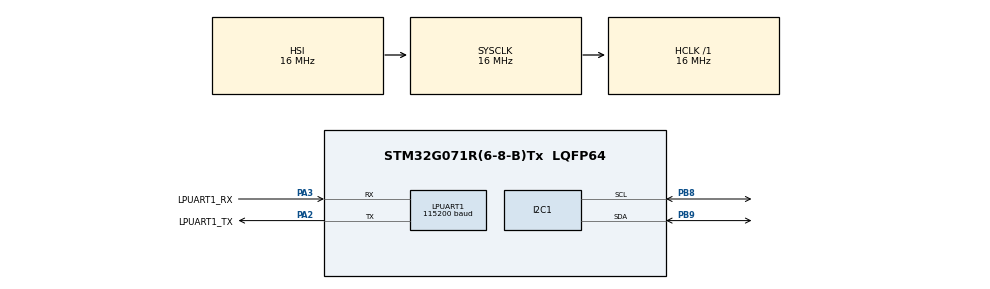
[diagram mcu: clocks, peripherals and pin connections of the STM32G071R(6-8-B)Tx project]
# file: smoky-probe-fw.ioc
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LPUART1.BaudRate=115200
LPUART1.WordLength=UART_WORDLENGTH_8B
Mcu.Family=STM32G0
Mcu.Name=STM32G071R(6-8-B)Tx
Mcu.Package=LQFP64
NVIC.TIM2_IRQn=true\:0\:0\:false\:false\:true\:true\:true
PA13.GPIO_Label=TMS
PA13.Mode=Serial_Wire
PA13.Signal=SYS_SWDIO
PA14-BOOT0.GPIO_Label=TCK
PA14-BOOT0.Mode=Serial_Wire
PA14-BOOT0.Signal=SYS_SWCLK
PA2.GPIO_Label=LPUART1_TX
PA2.Mode=Asynchronous
PA2.Signal=LPUART1_TX
PA3.GPIO_Label=LPUART1_RX
PA3.Mode=Asynchronous
PA3.Signal=LPUART1_RX
PB8.Mode=I2C
PB8.Signal=I2C1_SCL
PB9.Mode=I2C
PB9.Signal=I2C1_SDA
PC13.Mode=SYS_WakeUp1
PC13.Signal=SYS_WKUP2
PC14-OSC32_IN\ (PC14).Mode=LSE-External-Oscillator
PC14-OSC32_IN\ (PC14).Signal=RCC_OSC32_IN
PC15-OSC32_OUT\ (PC15).Mode=LSE-External-Oscillator
PC15-OSC32_OUT\ (PC15).Signal=RCC_OSC32_OUT
PF0-OSC_IN\ (PF0).GPIO_Label=MCO
PF0-OSC_IN\ (PF0).Mode=HSE-External-Clock-Source
PF0-OSC_IN\ (PF0).Signal=RCC_OSC_IN
ProjectManager.HeapSize=0x200
ProjectManager.StackSize=0x400
ProjectManager.TargetToolchain=SW4STM32
RCC.AHBFreq_Value=16000000
RCC.CortexFreq_Value=16000000
RCC.EXTERNAL_CLOCK_VALUE=12288000
RCC.HCLKFreq_Value=16000000
RCC.HSE_VALUE=8000000
RCC.HSI_VALUE=16000000
RCC.SYSCLKFreq_VALUE=16000000
RCC.VCOOutputFreq_Value=128000000
TIM2.Period=999
TIM2.Prescaler=15999
VP_TIM2_VS_ClockSourceINT.Mode=Internal
board=NUCLEO-G071RB

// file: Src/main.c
/* USER CODE BEGIN Header */
/**
  ******************************************************************************
  * @file           : main.c
  * @brief          : Main program body
  ******************************************************************************
  * @attention
  *
  * <h2><center>&copy; Copyright (c) 2019 STMicroelectronics.
  * All rights reserved.</center></h2>
  *
  * This software component is licensed by ST under BSD 3-Clause license,
  * the "License"; You may not use this file except in compliance with the
  * License. You may obtain a copy of the License at:
  *                        opensource.org/licenses/BSD-3-Clause
  *
  ******************************************************************************
  */

/* USER CODE END Header */

#include "main.h"

/* USER CODE BEGIN Includes */
#include <string.h>
#include <stdio.h>
#include "ina233_hal_if.h"
#include "hostctrl.h"

/* USER CODE END Includes */

I2C_HandleTypeDef hi2c1;

UART_HandleTypeDef hlpuart1;

TIM_HandleTypeDef htim2;

void SystemClock_Config(void);
static void MX_GPIO_Init(void);
static void MX_LPUART1_UART_Init(void);
static void MX_I2C1_Init(void);
static void MX_TIM2_Init(void);
/* USER CODE BEGIN PFP */
static void Test_Time(void);
static void Run_Interactive(void);
static void Run_Batch(void);
static void Test_UART_Echo(void);

/* USER CODE END PFP */

/* USER CODE BEGIN 0 */

HAL_StatusTypeDef status = HAL_OK;

static uint16_t dev_addrs[] = {
		INA233_SLAVE_1, INA233_SLAVE_2, INA233_SLAVE_3, INA233_SLAVE_4,
		INA233_SLAVE_5, INA233_SLAVE_6, INA233_SLAVE_7, INA233_SLAVE_8
};

// Request/reply
float current, power, voltage, vshunt, energy;
INA233_DeviceInfo dev_info;

char reply_header[MSG_REPLY_HEADER_LEN];
char reply_data[MSG_REPLY_DATA_LEN_MAX];
INA233_FaultType fault;

/* USER CODE END 0 */

int main(void)
{

  /* MCU Configuration--------------------------------------------------------*/

  /* Reset of all peripherals, Initializes the Flash interface and the Systick. */
  HAL_Init();

  /* Configure the system clock */
  SystemClock_Config();

  /* Initialize all configured peripherals */
  MX_GPIO_Init();
  MX_LPUART1_UART_Init();
  MX_I2C1_Init();
  MX_TIM2_Init();
  /* USER CODE BEGIN 2 */

  // INA233 devices initialization
  unsigned int i = 0;
  for (; i < CONF_NUM_DEVICES; ++i) {
	  INA233_Init(&hi2c1, dev_addrs[i]);
  }

  // status = HAL_TIM_Base_Start(&htim2);

  /* USER CODE END 2 */

  /* Infinite loop */
  while (1)
  {

    /* USER CODE BEGIN 3 */

#ifdef RUN_MODE_INTERACTIVE
	MX_LPUART1_UART_Init();
	Run_Interactive();
#endif

#ifdef RUN_MODE_BATCH
	Run_Batch();
	HAL_Delay(1);
#endif

#ifdef RUN_MODE_TESTS
	Test_Time();
	Test_UART_Echo();
#endif
  }
  /* USER CODE END 3 */
}

void SystemClock_Config(void)
{
  RCC_OscInitTypeDef RCC_OscInitStruct = {0};
  RCC_ClkInitTypeDef RCC_ClkInitStruct = {0};
  RCC_PeriphCLKInitTypeDef PeriphClkInit = {0};

  /** Configure the main internal regulator output voltage
  */
  HAL_PWREx_ControlVoltageScaling(PWR_REGULATOR_VOLTAGE_SCALE1);
  /** Initializes the CPU, AHB and APB busses clocks
  */
  RCC_OscInitStruct.OscillatorType = RCC_OSCILLATORTYPE_HSI;
  RCC_OscInitStruct.HSIState = RCC_HSI_ON;
  RCC_OscInitStruct.HSIDiv = RCC_HSI_DIV1;
  RCC_OscInitStruct.HSICalibrationValue = RCC_HSICALIBRATION_DEFAULT;
  RCC_OscInitStruct.PLL.PLLState = RCC_PLL_NONE;
  if (HAL_RCC_OscConfig(&RCC_OscInitStruct) != HAL_OK)
  {
    Error_Handler();
  }
  /** Initializes the CPU, AHB and APB busses clocks
  */
  RCC_ClkInitStruct.ClockType = RCC_CLOCKTYPE_HCLK|RCC_CLOCKTYPE_SYSCLK
                              |RCC_CLOCKTYPE_PCLK1;
  RCC_ClkInitStruct.SYSCLKSource = RCC_SYSCLKSOURCE_HSI;
  RCC_ClkInitStruct.AHBCLKDivider = RCC_SYSCLK_DIV1;
  RCC_ClkInitStruct.APB1CLKDivider = RCC_HCLK_DIV1;

  if (HAL_RCC_ClockConfig(&RCC_ClkInitStruct, FLASH_LATENCY_0) != HAL_OK)
  {
    Error_Handler();
  }
  /** Initializes the peripherals clocks
  */
  PeriphClkInit.PeriphClockSelection = RCC_PERIPHCLK_LPUART1|RCC_PERIPHCLK_I2C1;
  PeriphClkInit.Lpuart1ClockSelection = RCC_LPUART1CLKSOURCE_PCLK1;
  PeriphClkInit.I2c1ClockSelection = RCC_I2C1CLKSOURCE_PCLK1;
  if (HAL_RCCEx_PeriphCLKConfig(&PeriphClkInit) != HAL_OK)
  {
    Error_Handler();
  }
}

static void MX_I2C1_Init(void)
{

  hi2c1.Instance = I2C1;
  hi2c1.Init.Timing = 0x00303D5B;
  hi2c1.Init.OwnAddress1 = 0;
  hi2c1.Init.AddressingMode = I2C_ADDRESSINGMODE_7BIT;
  hi2c1.Init.DualAddressMode = I2C_DUALADDRESS_DISABLE;
  hi2c1.Init.OwnAddress2 = 0;
  hi2c1.Init.OwnAddress2Masks = I2C_OA2_NOMASK;
  hi2c1.Init.GeneralCallMode = I2C_GENERALCALL_DISABLE;
  hi2c1.Init.NoStretchMode = I2C_NOSTRETCH_DISABLE;
  if (HAL_I2C_Init(&hi2c1) != HAL_OK)
  {
    Error_Handler();
  }
  /** Configure Analogue filter
  */
  if (HAL_I2CEx_ConfigAnalogFilter(&hi2c1, I2C_ANALOGFILTER_ENABLE) != HAL_OK)
  {
    Error_Handler();
  }
  /** Configure Digital filter
  */
  if (HAL_I2CEx_ConfigDigitalFilter(&hi2c1, 0) != HAL_OK)
  {
    Error_Handler();
  }

}

static void MX_LPUART1_UART_Init(void)
{

  /* USER CODE BEGIN LPUART1_Init 0 */
	__LPUART1_CLK_ENABLE();

  /* USER CODE END LPUART1_Init 0 */

  hlpuart1.Instance = LPUART1;
  hlpuart1.Init.BaudRate = 57600;
  hlpuart1.Init.WordLength = UART_WORDLENGTH_8B;
  hlpuart1.Init.StopBits = UART_STOPBITS_1;
  hlpuart1.Init.Parity = UART_PARITY_NONE;
  hlpuart1.Init.Mode = UART_MODE_TX_RX;
  hlpuart1.Init.HwFlowCtl = UART_HWCONTROL_NONE;
  hlpuart1.Init.OneBitSampling = UART_ONE_BIT_SAMPLE_DISABLE;
  hlpuart1.Init.ClockPrescaler = UART_PRESCALER_DIV1;
  hlpuart1.AdvancedInit.AdvFeatureInit = UART_ADVFEATURE_NO_INIT;
  hlpuart1.FifoMode = UART_FIFOMODE_DISABLE;
  if (HAL_UART_Init(&hlpuart1) != HAL_OK)
  {
    Error_Handler();
  }
  if (HAL_UARTEx_SetTxFifoThreshold(&hlpuart1, UART_TXFIFO_THRESHOLD_1_8) != HAL_OK)
  {
    Error_Handler();
  }
  if (HAL_UARTEx_SetRxFifoThreshold(&hlpuart1, UART_RXFIFO_THRESHOLD_1_8) != HAL_OK)
  {
    Error_Handler();
  }
  if (HAL_UARTEx_DisableFifoMode(&hlpuart1) != HAL_OK)
  {
    Error_Handler();
  }

}

static void MX_TIM2_Init(void)
{

  TIM_ClockConfigTypeDef sClockSourceConfig = {0};
  TIM_MasterConfigTypeDef sMasterConfig = {0};

  htim2.Instance = TIM2;
  htim2.Init.Prescaler = 15999;
  htim2.Init.CounterMode = TIM_COUNTERMODE_UP;
  htim2.Init.Period = 0xFFFFFFFF;
  htim2.Init.ClockDivision = TIM_CLOCKDIVISION_DIV1;
  htim2.Init.AutoReloadPreload = TIM_AUTORELOAD_PRELOAD_DISABLE;
  if (HAL_TIM_Base_Init(&htim2) != HAL_OK)
  {
    Error_Handler();
  }
  sClockSourceConfig.ClockSource = TIM_CLOCKSOURCE_INTERNAL;
  if (HAL_TIM_ConfigClockSource(&htim2, &sClockSourceConfig) != HAL_OK)
  {
    Error_Handler();
  }
  sMasterConfig.MasterOutputTrigger = TIM_TRGO_RESET;
  sMasterConfig.MasterSlaveMode = TIM_MASTERSLAVEMODE_DISABLE;
  if (HAL_TIMEx_MasterConfigSynchronization(&htim2, &sMasterConfig) != HAL_OK)
  {
    Error_Handler();
  }

}

static void MX_GPIO_Init(void)
{

  /* GPIO Ports Clock Enable */
  __HAL_RCC_GPIOC_CLK_ENABLE();
  __HAL_RCC_GPIOF_CLK_ENABLE();
  __HAL_RCC_GPIOA_CLK_ENABLE();
  __HAL_RCC_GPIOB_CLK_ENABLE();

}

/* USER CODE BEGIN 4 */

void Test_Time()
{
  volatile unsigned long count = __HAL_TIM_GET_COUNTER(&htim2);
  uint8_t outstr[20];
  sprintf(outstr, "t=%lu \n\r", count);
  HAL_UART_Transmit(&hlpuart1, outstr, strlen(outstr), HAL_MAX_DELAY);
}

void Test_UART_Echo()
{
  uint8_t inbyte;
  HAL_UART_Receive(&hlpuart1, &inbyte, 1, HAL_MAX_DELAY);
  HAL_UART_Transmit(&hlpuart1, &inbyte, 1, HAL_MAX_DELAY);
}

void Run_Interactive( )
{
  // Get the host-side request
  uint8_t request[MSG_REQUEST_LEN];
  status = HAL_UART_Receive(&hlpuart1, request, MSG_REQUEST_LEN, HAL_MAX_DELAY);
  uint8_t ch_id           = chtoi(request[MSG_POS_CHANNEL_ID]);
  HostRequestCode reqcode = request[MSG_POS_REQUEST_CODE];
  uint8_t host_data       = request[MSG_POS_DATA];

  if (ch_id >= INA233_NR_SLAVES) {
	reply_header[MSG_POS_REPLY_STATUS] = CHANNEL_NOT_VALID;
	sprintf(reply_data, "%s", "Channel not valid");
	reply_header[MSG_POS_REPLY_DATA_LEN] = strlen(reply_data);
	reqcode = NOP;
  }

  // Request handling
  switch(reqcode) {

	case NOP:
		break;

	case CHECK_DEVICE:
		status = INA233_StatusCheck(&hi2c1, dev_addrs[ch_id], &fault);
		if (status == HAL_OK) {
			sprintf(reply_data, "%c", fault);
		}
		break;

	case GET_DEVICE_INFO:
		status = INA233_GetDeviceInfo(&hi2c1, dev_addrs[ch_id], &dev_info);
		if (status == HAL_OK) {
		  sprintf(reply_data, "%s-%s-%s",
				  dev_info.producer, dev_info.model, dev_info.rev);
		  /*
		  reply_header[MSG_POS_REPLY_STATUS] = REQUEST_OK;
		  reply_header[MSG_POS_REPLY_DATA_LEN] =
				  strlen(dev_info.producer) +
				  strlen(dev_info.model) +
				  strlen(dev_info.rev) + 2;
		   */
		}
		break;

	case GET_CURRENT:
		status = INA233_ReadInputCurrent(&hi2c1, dev_addrs[ch_id], &current);
		if (status == HAL_OK) {
		  sprintf(reply_data, "%2.6f", current);
		}
		break;

	case GET_VOLTAGE:
		status = INA233_ReadInputVoltage(&hi2c1, dev_addrs[ch_id], &voltage);
		if (status == HAL_OK) {
			sprintf(reply_data, "%2.3f", voltage);
		}
		break;

	case GET_VOLTAGE_SHUNT:
		status = INA233_ReadShuntVoltage(&hi2c1, dev_addrs[ch_id], &vshunt);
		if (status == HAL_OK) {
			sprintf(reply_data, "%2.3f", vshunt);
		}
		break;

	case GET_POWER:
	  status = INA233_ReadInputPower(&hi2c1, dev_addrs[ch_id], &power);
	  if (status == HAL_OK) {
		  sprintf(reply_data, "%4.6f", power);
	  }
	  break;

	case GET_SAMPLES:
	  status  = INA233_ReadInputCurrent(&hi2c1, dev_addrs[ch_id], &current);
	  status |= INA233_ReadInputVoltage(&hi2c1, dev_addrs[ch_id], &voltage);
	  status |= INA233_ReadShuntVoltage(&hi2c1, dev_addrs[ch_id], &vshunt);
	  status |= INA233_ReadInputPower(&hi2c1, dev_addrs[ch_id], &power);
	  if (status == HAL_OK) {
		  sprintf(reply_data, "%2.6f %2.3f %2.4f %4.6f",
				  current, voltage, power, vshunt);
	  }
	  break;

	case START_ENERGY_SAMPLING:
	  status = INA233_StartEnergySampling(&hi2c1, dev_addrs[ch_id], &htim2);
	  if (status == HAL_OK) {
		  sprintf(reply_data, "%s", "OK");
	  }
	  break;

	case STOP_ENERGY_SAMPLING:
	  status = INA233_StopEnergySampling(&hi2c1, dev_addrs[ch_id], &htim2, &energy);
	  if (status == HAL_OK) {
		  sprintf(reply_data, "%4.6f", energy);
	  }
	  break;

	default:
	  reply_header[MSG_POS_REPLY_STATUS] = REQUEST_NOT_VALID;
	  reply_header[MSG_POS_REPLY_DATA_LEN] = 0;
	  break;
  }

  // Send reply header
  if (status != HAL_OK) {
	reply_header[MSG_POS_REPLY_STATUS] = HW_ERROR;
	sprintf(reply_data, "%s", "Hardware error on the device");
  }

  reply_header[MSG_POS_CHANNEL_ID]     = itoch(ch_id);
  reply_header[MSG_POS_REPLY_CODE]     = reqcode;
  reply_header[MSG_POS_REPLY_STATUS]   = REQUEST_OK;
  reply_header[MSG_POS_REPLY_DATA_LEN] = strlen(reply_data);
  status = HAL_UART_Transmit(&hlpuart1,
	  (uint8_t *) reply_header, MSG_REPLY_HEADER_LEN, HAL_MAX_DELAY);

  // Send reply data
  if (reply_header[MSG_POS_REPLY_DATA_LEN] > 0) {
	status = HAL_UART_Transmit(&hlpuart1,
		  (uint8_t *) reply_data, reply_header[MSG_POS_REPLY_DATA_LEN], HAL_MAX_DELAY);

	// Reset
	memset(reply_data, 0, MSG_REPLY_DATA_LEN_MAX);
	reply_header[MSG_POS_REPLY_DATA_LEN] = 0;
  }
}

void Run_Batch()
{
	uint8_t ch_id = 0;
	for (; ch_id < 4; ++ch_id) {
	  status  = INA233_ReadInputCurrent(&hi2c1, dev_addrs[ch_id], &current);
	  status |= INA233_ReadInputVoltage(&hi2c1, dev_addrs[ch_id], &voltage);
	  status |= INA233_ReadShuntVoltage(&hi2c1, dev_addrs[ch_id], &vshunt);
	  status |= INA233_ReadInputPower(&hi2c1, dev_addrs[ch_id], &power);
	  if (status == HAL_OK) {
		  sprintf(reply_data, "[%d] %2.6f %2.6f %2.6f %2.6f \n\r",
				  ch_id, current, voltage, power, vshunt);
		  size_t len = strlen((char *)reply_data);
		  status = HAL_UART_Transmit(&hlpuart1,
				  (uint8_t *) reply_data, len, HAL_MAX_DELAY);
		  memset(reply_data, 0, MSG_REPLY_DATA_LEN_MAX);
	  }
	}
}

/* USER CODE END 4 */

void Error_Handler(void)
{
}

/************************ (C) COPYRIGHT STMicroelectronics *****END OF FILE****/
